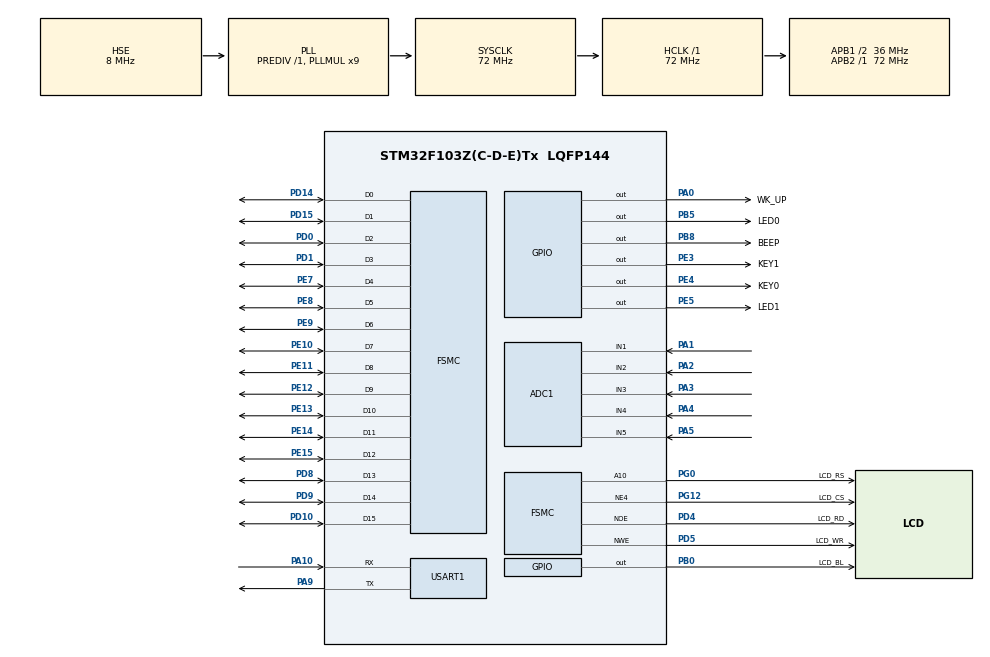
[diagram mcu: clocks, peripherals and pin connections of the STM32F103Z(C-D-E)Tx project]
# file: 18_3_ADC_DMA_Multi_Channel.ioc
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ADC1.Channel-0\#ChannelRegularConversion=ADC_CHANNEL_1
ADC1.Channel-1\#ChannelRegularConversion=ADC_CHANNEL_2
ADC1.Channel-2\#ChannelRegularConversion=ADC_CHANNEL_3
ADC1.Channel-3\#ChannelRegularConversion=ADC_CHANNEL_4
ADC1.Channel-4\#ChannelRegularConversion=ADC_CHANNEL_5
ADC1.ContinuousConvMode=ENABLE
ADC1.NbrOfConversion=5
ADC1.NbrOfConversionFlag=1
ADC1.Rank-0\#ChannelRegularConversion=1
ADC1.Rank-1\#ChannelRegularConversion=2
ADC1.Rank-2\#ChannelRegularConversion=3
ADC1.Rank-3\#ChannelRegularConversion=4
ADC1.Rank-4\#ChannelRegularConversion=5
ADC1.SamplingTime-0\#ChannelRegularConversion=ADC_SAMPLETIME_239CYCLES_5
ADC1.SamplingTime-1\#ChannelRegularConversion=ADC_SAMPLETIME_239CYCLES_5
ADC1.SamplingTime-2\#ChannelRegularConversion=ADC_SAMPLETIME_239CYCLES_5
ADC1.SamplingTime-3\#ChannelRegularConversion=ADC_SAMPLETIME_239CYCLES_5
ADC1.SamplingTime-4\#ChannelRegularConversion=ADC_SAMPLETIME_239CYCLES_5
ADC1.master=1
Dma.ADC1.0.Direction=DMA_PERIPH_TO_MEMORY
Dma.ADC1.0.Instance=DMA1_Channel1
Dma.ADC1.0.MemDataAlignment=DMA_MDATAALIGN_HALFWORD
Dma.ADC1.0.MemInc=DMA_MINC_ENABLE
Dma.ADC1.0.Mode=DMA_NORMAL
Dma.ADC1.0.PeriphDataAlignment=DMA_PDATAALIGN_HALFWORD
Dma.ADC1.0.PeriphInc=DMA_PINC_DISABLE
Dma.ADC1.0.Priority=DMA_PRIORITY_MEDIUM
Dma.Request0=ADC1
FSMC.AddressSetupTime1=0
FSMC.BusTurnAroundDuration1=15
FSMC.DataSetupTime1=15
FSMC.ExtendedAddressSetupTime1=0
FSMC.ExtendedDataSetupTime1=1
FSMC.ExtendedMode1=FSMC_EXTENDED_MODE_ENABLE
Mcu.Family=STM32F1
Mcu.Name=STM32F103Z(C-D-E)Tx
Mcu.Package=LQFP144
NVIC.DMA1_Channel1_IRQn=true\:2\:1\:true\:false\:true\:false\:true\:true
NVIC.PriorityGroup=NVIC_PRIORITYGROUP_2
NVIC.USART1_IRQn=true\:2\:2\:true\:false\:true\:true\:true\:true
OSC_IN.Mode=HSE-External-Oscillator
OSC_IN.Signal=RCC_OSC_IN
OSC_OUT.Mode=HSE-External-Oscillator
OSC_OUT.Signal=RCC_OSC_OUT
PA0-WKUP.GPIO_Label=WK_UP
PA0-WKUP.GPIO_PuPd=GPIO_PULLDOWN
PA0-WKUP.GPIO_Speed=GPIO_SPEED_FREQ_HIGH
PA0-WKUP.PinState=GPIO_PIN_RESET
PA0-WKUP.Signal=GPIO_Output
PA1.Signal=ADCx_IN1
PA10.Mode=Asynchronous
PA10.Signal=USART1_RX
PA13.Mode=Serial_Wire
PA13.Signal=SYS_JTMS-SWDIO
PA14.Mode=Serial_Wire
PA14.Signal=SYS_JTCK-SWCLK
PA2.Signal=ADCx_IN2
PA3.Signal=ADCx_IN3
PA4.Signal=ADCx_IN4
PA5.Signal=ADCx_IN5
PA9.Mode=Asynchronous
PA9.Signal=USART1_TX
PB0.GPIO_Label=LCD_BL
PB0.GPIO_PuPd=GPIO_PULLUP
PB0.GPIO_Speed=GPIO_SPEED_FREQ_HIGH
PB0.PinState=GPIO_PIN_SET
PB0.Signal=GPIO_Output
PB5.GPIO_Label=LED0
PB5.GPIO_PuPd=GPIO_PULLUP
PB5.GPIO_Speed=GPIO_SPEED_FREQ_HIGH
PB5.PinState=GPIO_PIN_SET
PB5.Signal=GPIO_Output
PB8.GPIO_Label=BEEP
PB8.GPIO_ModeDefaultOutputPP=GPIO_MODE_OUTPUT_PP
PB8.GPIO_PuPd=GPIO_PULLDOWN
PB8.GPIO_Speed=GPIO_SPEED_FREQ_HIGH
PB8.PinState=GPIO_PIN_RESET
PB8.Signal=GPIO_Output
PC14-OSC32_IN.Mode=LSE-External-Oscillator
PC14-OSC32_IN.Signal=RCC_OSC32_IN
PC15-OSC32_OUT.Mode=LSE-External-Oscillator
PC15-OSC32_OUT.Signal=RCC_OSC32_OUT
PD0.Signal=FSMC_D2_DA2
PD1.Signal=FSMC_D3_DA3
PD10.Signal=FSMC_D15_DA15
PD14.Signal=FSMC_D0_DA0
PD15.Signal=FSMC_D1_DA1
PD4.GPIO_Label=LCD_RD
PD4.Signal=FSMC_NOE
PD5.GPIO_Label=LCD_WR
PD5.Signal=FSMC_NWE
PD8.Signal=FSMC_D13_DA13
PD9.Signal=FSMC_D14_DA14
PE10.Signal=FSMC_D7_DA7
PE11.Signal=FSMC_D8_DA8
PE12.Signal=FSMC_D9_DA9
PE13.Signal=FSMC_D10_DA10
PE14.Signal=FSMC_D11_DA11
PE15.Signal=FSMC_D12_DA12
PE3.GPIO_Label=KEY1
PE3.GPIO_PuPd=GPIO_PULLUP
PE3.GPIO_Speed=GPIO_SPEED_FREQ_HIGH
PE3.PinState=GPIO_PIN_SET
PE3.Signal=GPIO_Output
PE4.GPIO_Label=KEY0
PE4.GPIO_PuPd=GPIO_PULLUP
PE4.GPIO_Speed=GPIO_SPEED_FREQ_HIGH
PE4.PinState=GPIO_PIN_SET
PE4.Signal=GPIO_Output
PE5.GPIO_Label=LED1
PE5.GPIO_PuPd=GPIO_PULLUP
PE5.GPIO_Speed=GPIO_SPEED_FREQ_HIGH
PE5.PinState=GPIO_PIN_SET
PE5.Signal=GPIO_Output
PE7.Signal=FSMC_D4_DA4
PE8.Signal=FSMC_D5_DA5
PE9.Signal=FSMC_D6_DA6
PG0.GPIO_Label=LCD_RS
PG0.Signal=FSMC_A10
PG12.GPIO_Label=LCD_CS
PG12.Mode=NorPsramChipSelect4_1
PG12.Signal=FSMC_NE4
ProjectManager.HeapSize=0x200
ProjectManager.StackSize=0x400
ProjectManager.TargetToolchain=STM32CubeIDE
RCC.ADCPresc=RCC_ADCPCLK2_DIV6
RCC.AHBFreq_Value=72000000
RCC.APB1CLKDivider=RCC_HCLK_DIV2
RCC.APB1Freq_Value=36000000
RCC.APB1TimFreq_Value=72000000
RCC.APB2Freq_Value=72000000
RCC.APB2TimFreq_Value=72000000
RCC.HCLKFreq_Value=72000000
RCC.PLLMUL=RCC_PLL_MUL9
RCC.PLLSourceVirtual=RCC_PLLSOURCE_HSE
RCC.SYSCLKFreq_VALUE=72000000
RCC.SYSCLKSource=RCC_SYSCLKSOURCE_PLLCLK
RCC.USBFreq_Value=72000000
SH.ADCx_IN1.0=ADC1_IN1,IN1
SH.ADCx_IN2.0=ADC1_IN2,IN2
SH.ADCx_IN3.0=ADC1_IN3,IN3
SH.ADCx_IN4.0=ADC1_IN4,IN4
SH.ADCx_IN5.0=ADC1_IN5,IN5
SH.FSMC_A10.0=FSMC_A10,A10_1
SH.FSMC_D0_DA0.0=FSMC_D0,16b-d1
SH.FSMC_D10_DA10.0=FSMC_D10,16b-d1
SH.FSMC_D11_DA11.0=FSMC_D11,16b-d1
SH.FSMC_D12_DA12.0=FSMC_D12,16b-d1
SH.FSMC_D13_DA13.0=FSMC_D13,16b-d1
SH.FSMC_D14_DA14.0=FSMC_D14,16b-d1
SH.FSMC_D15_DA15.0=FSMC_D15,16b-d1
SH.FSMC_D1_DA1.0=FSMC_D1,16b-d1
SH.FSMC_D2_DA2.0=FSMC_D2,16b-d1
SH.FSMC_D3_DA3.0=FSMC_D3,16b-d1
SH.FSMC_D4_DA4.0=FSMC_D4,16b-d1
SH.FSMC_D5_DA5.0=FSMC_D5,16b-d1
SH.FSMC_D6_DA6.0=FSMC_D6,16b-d1
SH.FSMC_D7_DA7.0=FSMC_D7,16b-d1
SH.FSMC_D8_DA8.0=FSMC_D8,16b-d1
SH.FSMC_D9_DA9.0=FSMC_D9,16b-d1
SH.FSMC_NOE.0=FSMC_NOE,Lcd1
SH.FSMC_NWE.0=FSMC_NWE,Lcd1
USART1.VirtualMode=VM_ASYNC
board=custom

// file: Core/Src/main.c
/* USER CODE BEGIN Header */

/* USER CODE END Header */
#include "main.h"
#include "adc.h"
#include "dma.h"
#include "usart.h"
#include "gpio.h"
#include "fsmc.h"

/* USER CODE BEGIN Includes */
#include "../../BSP/LED/led.h"
#include "../../BSP/KEY/key.h"
#include "../../BSP/LCD/lcd.h"
#include "../../SYSTEM/delay/delay.h"
/* USER CODE END Includes */

void SystemClock_Config(void);
/* USER CODE BEGIN PFP */
#define ADC_DMA_BUF_SIZE        50 * 5      /* ADC DMA采集 BUF大小, 应等于ADC通道数的整数倍 */
uint16_t g_adc_dma_buf[ADC_DMA_BUF_SIZE];   /* ADC DMA BUF */
extern uint8_t g_adc_dma_sta;               /* DMA传输状态标志, 0,未完成; 1, 已完成 */
/* USER CODE END PFP */

int main(void)
{
  /* USER CODE BEGIN 1 */
    uint16_t i,j;
    uint16_t adcx;
    uint32_t sum;
    float temp;
  /* USER CODE END 1 */

  /* MCU Configuration--------------------------------------------------------*/

  /* Reset of all peripherals, Initializes the Flash interface and the Systick. */
  HAL_Init();

  /* Configure the system clock */
  SystemClock_Config();

  /* USER CODE BEGIN SysInit */
  delay_init(72);						   /* 初始化延时函数 */
  /* USER CODE END SysInit */

  /* Initialize all configured peripherals */
  MX_GPIO_Init();
  MX_DMA_Init();
  MX_FSMC_Init();
  MX_USART1_UART_Init();
  MX_ADC1_Init();
  /* USER CODE BEGIN 2 */
  HAL_DMA_Start_IT(&hdma_adc1, (uint32_t)&ADC1->DR, (uint32_t)&g_adc_dma_buf, 0);	/* 启动DMA，并开启中断 */
  HAL_ADC_Start_DMA(&hadc1, (uint32_t*)&g_adc_dma_buf, 0);           	/* 开启ADC，通过DMA传输结果 */

  lcd_init();                                         					/* 初始化LCD */
  lcd_show_string(30,  50, 200, 16, 16, "STM32", RED);
  lcd_show_string(30,  70, 200, 16, 16, "ADC 6CH DMA TEST", RED);
  lcd_show_string(30,  90, 200, 16, 16, "ATOM@ALIENTEK", RED);

  lcd_show_string(30, 110, 200, 12, 12, "ADC1_CH1_VAL:", BLUE);
  lcd_show_string(30, 122, 200, 12, 12, "ADC1_CH1_VOL:0.000V", BLUE); /* 先在固定位置显示小数点 */

  lcd_show_string(30, 140, 200, 12, 12, "ADC1_CH2_VAL:", BLUE);
  lcd_show_string(30, 152, 200, 12, 12, "ADC1_CH2_VOL:0.000V", BLUE); /* 先在固定位置显示小数点 */

  lcd_show_string(30, 170, 200, 12, 12, "ADC1_CH3_VAL:", BLUE);
  lcd_show_string(30, 182, 200, 12, 12, "ADC1_CH3_VOL:0.000V", BLUE); /* 先在固定位置显示小数点 */

  lcd_show_string(30, 200, 200, 12, 12, "ADC1_CH4_VAL:", BLUE);
  lcd_show_string(30, 212, 200, 12, 12, "ADC1_CH4_VOL:0.000V", BLUE); /* 先在固定位置显示小数点 */

  lcd_show_string(30, 230, 200, 12, 12, "ADC1_CH5_VAL:", BLUE);
  lcd_show_string(30, 242, 200, 12, 12, "ADC1_CH5_VOL:0.000V", BLUE); /* 先在固定位置显示小数点 */

  adc_dma_enable(ADC_DMA_BUF_SIZE);   /* 启动ADC DMA采集 */
  /* USER CODE END 2 */

  /* Infinite loop */
  /* USER CODE BEGIN WHILE */
  while (1)
  {
	  if (g_adc_dma_sta == 1)
	  {
		  /* 循环显示通道4~通道5的结果 */
		  for(j = 0; j < 5; j++)  /* 遍历5个通道 */
		  {
			  sum = 0; /* 清零 */
			  for (i = 0; i < ADC_DMA_BUF_SIZE / 5; i++)  /* 每个通道采集了10次数据,进行10次累加 */
			  {
				  sum += g_adc_dma_buf[(5 * i) + j];      /* 相同通道的转换数据累加 */
			  }
			  adcx = sum / (ADC_DMA_BUF_SIZE / 5);        /* 取平均值 */

			  /* 显示结果 */
			  lcd_show_xnum(108, 110 + (j * 30), adcx, 4, 12, 0, BLUE);   /* 显示ADCC采样后的原始值 */

			  temp = (float)adcx * (3.3 / 4096);  /* 获取计算后的带小数的实际电压值，比如3.1111 */
			  adcx = temp;                        /* 赋值整数部分给adcx变量，因为adcx为u16整形 */
			  lcd_show_xnum(108, 122 + (j * 30), adcx, 1, 12, 0, BLUE);   /* 显示电压值的整数部分，3.1111的话，这里就是显示3 */

			  temp -= adcx;                       /* 把已经显示的整数部分去掉，留下小数部分，比如3.1111-3=0.1111 */
			  temp *= 1000;                       /* 小数部分乘以1000，例如：0.1111就转换为111.1，相当于保留三位小数。 */
			  lcd_show_xnum(120, 122 + (j * 30), temp, 3, 12, 0X80, BLUE);/* 显示小数部分（前面转换为了整形显示），这里显示的就是111. */
		  }

		  g_adc_dma_sta = 0;                      /* 清除DMA采集完成状态标志 */
		  adc_dma_enable(ADC_DMA_BUF_SIZE);       /* 启动下一次ADC DMA采集 */
	  }

	  LED0_TOGGLE();
	  delay_ms(100);

    /* USER CODE END WHILE */

  }
}

void SystemClock_Config(void)
{
  RCC_OscInitTypeDef RCC_OscInitStruct = {0};
  RCC_ClkInitTypeDef RCC_ClkInitStruct = {0};
  RCC_PeriphCLKInitTypeDef PeriphClkInit = {0};

  /** Initializes the RCC Oscillators according to the specified parameters
  * in the RCC_OscInitTypeDef structure.
  */
  RCC_OscInitStruct.OscillatorType = RCC_OSCILLATORTYPE_HSE;
  RCC_OscInitStruct.HSEState = RCC_HSE_ON;
  RCC_OscInitStruct.HSEPredivValue = RCC_HSE_PREDIV_DIV1;
  RCC_OscInitStruct.HSIState = RCC_HSI_ON;
  RCC_OscInitStruct.PLL.PLLState = RCC_PLL_ON;
  RCC_OscInitStruct.PLL.PLLSource = RCC_PLLSOURCE_HSE;
  RCC_OscInitStruct.PLL.PLLMUL = RCC_PLL_MUL9;
  if (HAL_RCC_OscConfig(&RCC_OscInitStruct) != HAL_OK)
  {
    Error_Handler();
  }

  /** Initializes the CPU, AHB and APB buses clocks
  */
  RCC_ClkInitStruct.ClockType = RCC_CLOCKTYPE_HCLK|RCC_CLOCKTYPE_SYSCLK
                              |RCC_CLOCKTYPE_PCLK1|RCC_CLOCKTYPE_PCLK2;
  RCC_ClkInitStruct.SYSCLKSource = RCC_SYSCLKSOURCE_PLLCLK;
  RCC_ClkInitStruct.AHBCLKDivider = RCC_SYSCLK_DIV1;
  RCC_ClkInitStruct.APB1CLKDivider = RCC_HCLK_DIV2;
  RCC_ClkInitStruct.APB2CLKDivider = RCC_HCLK_DIV1;

  if (HAL_RCC_ClockConfig(&RCC_ClkInitStruct, FLASH_LATENCY_2) != HAL_OK)
  {
    Error_Handler();
  }
  PeriphClkInit.PeriphClockSelection = RCC_PERIPHCLK_ADC;
  PeriphClkInit.AdcClockSelection = RCC_ADCPCLK2_DIV6;
  if (HAL_RCCEx_PeriphCLKConfig(&PeriphClkInit) != HAL_OK)
  {
    Error_Handler();
  }
}

void Error_Handler(void)
{
  __disable_irq();
  while (1)
  {
  }
}
